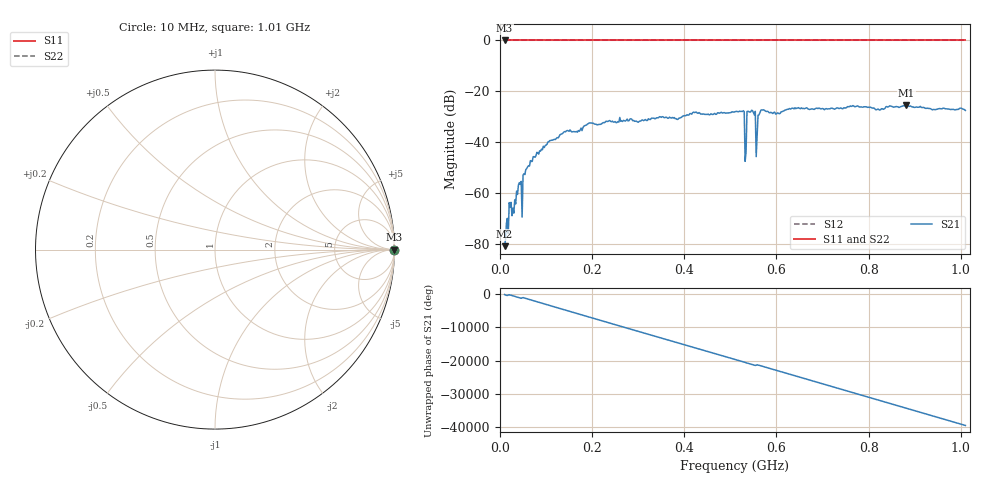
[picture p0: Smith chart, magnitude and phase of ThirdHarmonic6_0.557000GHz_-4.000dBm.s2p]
! 8/15/2025 5:42:19 PM
! C:\ANRITSUVNA\TEMP\TEMP.S2P
! CHANNEL.1
! TR.MEASUREMENT
! RAW.DATA
! RF.CORRECTION.OFF
! AVERAGING.OFF
! IF.BANDWIDTH: 5KHZ
! SWEEPTYPE:  FREQ.SWEEP(Linear)
! Reference Plane Port Info
! PORT:  PORT1  PORT2
! DISTANCE:  0  m  0  m
! TIME:  0  s  0  s
! PHASE.OFFSET:  0  deg.  0  deg.
! LOSS:  0  dB  0  dB
! REF.LOSS:  0  dB  0  dB
! REF.FREQ:  0  Hz  0  Hz
! Power Info
! POWER:  -20  dBm  -20  dBm
! EFF.POWER:  -20  dBm  -20  dBm
! SOURCE.ATTEN:  0  dB  0  dB
! TEST.ATTEN:  0  dB  0  dB
# GHZ S RI R 50.0
! FREQ.GHZ  S11RE  S11IM  S21RE  S21IM  S12RE  S12IM  S22RE  S22IM
!; PortSelection: Port_12
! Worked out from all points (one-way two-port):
!   501 points, 10 MHz to 1.01 GHz, reference 50 ohm
!   highest |S21| = -25.31 dB at 882 MHz (marker M1); lowest = -80.7 dB at 10 MHz (marker M2)
!   lowest |S11| = 0.0 dB at 10 MHz (marker M3)
!   |S11| at or under -10 dB: nowhere
!   |S22| runs from 0.0 to 0.0 dB; largest |S21 - S12| = 1.1
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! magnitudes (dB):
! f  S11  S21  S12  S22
! 10 MHz  0.0  -80.7  0.0  0.0
! 24 MHz  0.0  -63.6  0.0  0.0
! 30 MHz  0.0  -67.8  0.0  0.0
! 40 MHz  0.0  -56.7  0.0  0.0
! 70 MHz  0.0  -47.5  0.0  0.0
! 108 MHz  0.0  -39.3  0.0  0.0
! 178 MHz  0.0  -35.4  0.0  0.0
! 344 MHz  0.0  -30.3  0.0  0.0
! 510 MHz  0.0  -28.0  0.0  0.0
! 526 MHz  0.0  -27.9  0.0  0.0
! 530 MHz  0.0  -27.9  0.0  0.0
! 536 MHz  0.0  -27.9  0.0  0.0
! 540 MHz  0.0  -27.9  0.0  0.0
! 550 MHz  0.0  -28.3  0.0  0.0
! 554 MHz  0.0  -27.8  0.0  0.0
! 560 MHz  0.0  -29.3  0.0  0.0
! 564 MHz  0.0  -28.4  0.0  0.0
! 570 MHz  0.0  -27.3  0.0  0.0
! 678 MHz  0.0  -26.9  0.0  0.0
! 844 MHz  0.0  -25.9  0.0  0.0
! 882 MHz  0.0  -25.3  0.0  0.0
! 1.01 GHz  0.0  -27.5  0.0  0.0
